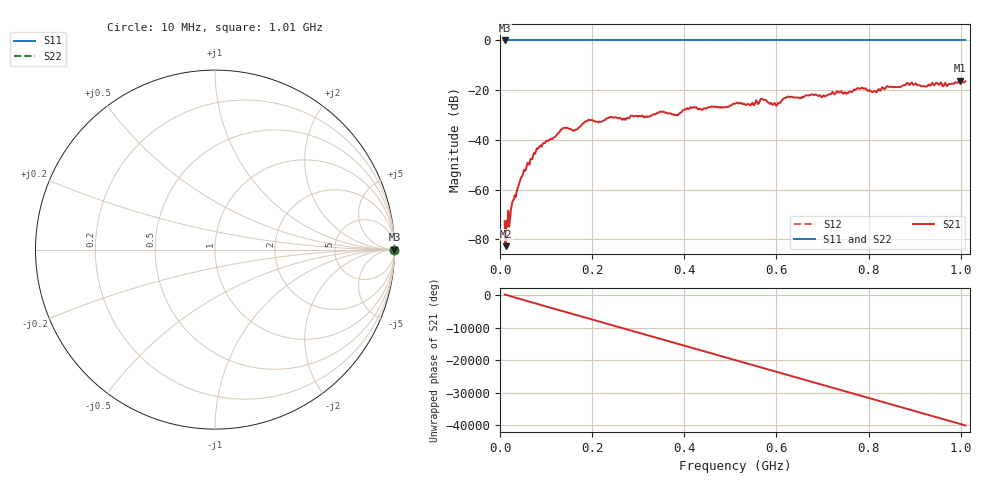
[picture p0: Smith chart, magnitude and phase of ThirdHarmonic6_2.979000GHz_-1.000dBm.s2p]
! 8/17/2025 8:27:30 AM
! C:\ANRITSUVNA\TEMP\TEMP.S2P
! CHANNEL.1
! TR.MEASUREMENT
! RAW.DATA
! RF.CORRECTION.OFF
! AVERAGING.OFF
! IF.BANDWIDTH: 5KHZ
! SWEEPTYPE:  FREQ.SWEEP(Linear)
! Reference Plane Port Info
! PORT:  PORT1  PORT2
! DISTANCE:  0  m  0  m
! TIME:  0  s  0  s
! PHASE.OFFSET:  0  deg.  0  deg.
! LOSS:  0  dB  0  dB
! REF.LOSS:  0  dB  0  dB
! REF.FREQ:  0  Hz  0  Hz
! Power Info
! POWER:  -20  dBm  -20  dBm
! EFF.POWER:  -20  dBm  -20  dBm
! SOURCE.ATTEN:  0  dB  0  dB
! TEST.ATTEN:  0  dB  0  dB
# GHZ S RI R 50.0
! FREQ.GHZ  S11RE  S11IM  S21RE  S21IM  S12RE  S12IM  S22RE  S22IM
!; PortSelection: Port_12
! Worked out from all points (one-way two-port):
!   501 points, 10 MHz to 1.01 GHz, reference 50 ohm
!   highest |S21| = -16.19 dB at 998 MHz (marker M1); lowest = -82.7 dB at 12 MHz (marker M2)
!   lowest |S11| = 0.0 dB at 10 MHz (marker M3)
!   |S11| at or under -10 dB: nowhere
!   |S22| runs from 0.0 to 0.0 dB; largest |S21 - S12| = 1.1
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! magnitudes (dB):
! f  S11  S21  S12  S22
! 10 MHz  0.0  -72.6  0.0  0.0
! 12 MHz  0.0  -82.7  0.0  0.0
! 16 MHz  0.0  -74.8  0.0  0.0
! 28 MHz  0.0  -64.2  0.0  0.0
! 48 MHz  0.0  -54.7  0.0  0.0
! 82 MHz  0.0  -43.5  0.0  0.0
! 136 MHz  0.0  -35.4  0.0  0.0
! 162 MHz  0.0  -36.0  0.0  0.0
! 178 MHz  0.0  -33.7  0.0  0.0
! 344 MHz  0.0  -29.0  0.0  0.0
! 384 MHz  0.0  -30.1  0.0  0.0
! 416 MHz  0.0  -27.1  0.0  0.0
! 510 MHz  0.0  -25.5  0.0  0.0
! 570 MHz  0.0  -23.7  0.0  0.0
! 596 MHz  0.0  -25.1  0.0  0.0
! 622 MHz  0.0  -22.8  0.0  0.0
! 678 MHz  0.0  -21.7  0.0  0.0
! 780 MHz  0.0  -19.5  0.0  0.0
! 814 MHz  0.0  -20.4  0.0  0.0
! 844 MHz  0.0  -18.6  0.0  0.0
! 998 MHz  0.0  -16.2  0.0  0.0
! 1.01 GHz  0.0  -16.4  0.0  0.0
